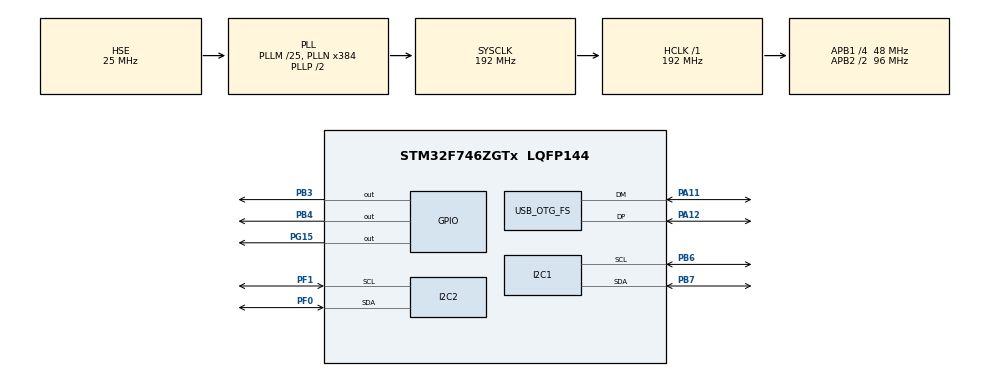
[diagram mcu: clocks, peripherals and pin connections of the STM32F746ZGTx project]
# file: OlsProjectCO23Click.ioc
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I2C1.Timing=0x20303E5D
I2C2.Timing=0x20303E5D
Mcu.Family=STM32F7
Mcu.Name=STM32F746ZGTx
Mcu.Package=LQFP144
NVIC.OTG_FS_IRQn=true\:0\:0\:false\:false\:true\:false\:true
NVIC.PriorityGroup=NVIC_PRIORITYGROUP_4
PA11.Mode=Device_Only
PA11.Signal=USB_OTG_FS_DM
PA12.Mode=Device_Only
PA12.Signal=USB_OTG_FS_DP
PB3.Signal=GPIO_Output
PB4.Signal=GPIO_Output
PB6.Mode=I2C
PB6.Signal=I2C1_SCL
PB7.Mode=I2C
PB7.Signal=I2C1_SDA
PF0.Mode=I2C
PF0.Signal=I2C2_SDA
PF1.Mode=I2C
PF1.Signal=I2C2_SCL
PG15.Signal=GPIO_Output
PH0/OSC_IN.Mode=HSE-External-Oscillator
PH0/OSC_IN.Signal=RCC_OSC_IN
PH1/OSC_OUT.Mode=HSE-External-Oscillator
PH1/OSC_OUT.Signal=RCC_OSC_OUT
ProjectManager.HeapSize=0x200
ProjectManager.StackSize=0x400
ProjectManager.TargetToolchain=STM32CubeIDE
RCC.AHBFreq_Value=192000000
RCC.APB1CLKDivider=RCC_HCLK_DIV4
RCC.APB1Freq_Value=48000000
RCC.APB1TimFreq_Value=96000000
RCC.APB2CLKDivider=RCC_HCLK_DIV2
RCC.APB2Freq_Value=96000000
RCC.APB2TimFreq_Value=192000000
RCC.CortexFreq_Value=192000000
RCC.HCLKFreq_Value=192000000
RCC.HSE_VALUE=25000000
RCC.HSI_VALUE=16000000
RCC.LSE_VALUE=32768
RCC.PLLM=25
RCC.PLLN=384
RCC.PLLQ=8
RCC.SYSCLKFreq_VALUE=192000000
RCC.SYSCLKSource=RCC_SYSCLKSOURCE_PLLCLK
RCC.USBFreq_Value=48000000
RCC.VCOOutputFreq_Value=384000000
USB_DEVICE.CLASS_NAME_FS=CDC
USB_DEVICE.VirtualMode-CDC_FS=Cdc
USB_DEVICE.VirtualModeFS=Cdc_FS
USB_OTG_FS.VirtualMode=Device_Only
VP_USB_DEVICE_VS_USB_DEVICE_CDC_FS.Mode=CDC_FS
board=custom

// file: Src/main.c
/* USER CODE BEGIN Header */
/**
  ******************************************************************************
  * @file           : main.c
  * @brief          : Main program body
  ******************************************************************************
  * @attention
  *
  * <h2><center>&copy; Copyright (c) 2024 STMicroelectronics.
  * All rights reserved.</center></h2>
  *
  * This software component is licensed by ST under Ultimate Liberty license
  * SLA0044, the "License"; You may not use this file except in compliance with
  * the License. You may obtain a copy of the License at:
  *                             www.st.com/SLA0044
  *
  ******************************************************************************
  */
/* USER CODE END Header */

#include "main.h"
#include "usb_device.h"

/* USER CODE BEGIN Includes */
#include "usbd_cdc_if.h"

#include "SSD1963.h"
#include "STMPE610.h"

#include "GUI.h"
#include "LCDConf.h"

#include "stdint.h"
#include "stdio.h"

#include "CO23Click.h"
#include <stdbool.h>
#include "Windows/Co2GraphDLG.h"
#include "Windows/WindowDLG.h"

/* USER CODE END Includes */

/* USER CODE BEGIN PTD */
typedef uint8_t bool_t;

typedef struct
{
  uint16_t Result;
  uint16_t Count;
} MeasurementMessage_t;

/* USER CODE END PTD */

/* USER CODE BEGIN PD */
#define MEAS_RES_INVALID  (0xFFFFu)
/* USER CODE END PD */

I2C_HandleTypeDef hi2c1;
I2C_HandleTypeDef hi2c2;

/* USER CODE BEGIN PV */
extern volatile GUI_TIMER_TIME OS_TimeMS;
uint16_t X_koordinata = 0;
uint16_t Y_koordinata = 0;
uint16_t keypressed = 0;
static bool_t NewMeasurementEvent = FALSE;
static MeasurementMessage_t MeasurementMsg =
{
  .Result = MEAS_RES_INVALID,
  .Count = 0u
};

GRAPH_Handle GraphHandle;
GRAPH_DATA_Handle GraphDataHandle;
GRAPH_SCALE_Handle GraphScaleHandle;
GRAPH_SCALE_Handle GraphScaleHandle2;

SLIDER_Handle RefPressureSliderHandle;
SLIDER_Handle MesRateSliderHandle;

TEXT_Handle RefPresTextBox;
TEXT_Handle MesRateTextBox;
TEXT_Handle ProdTextBox;
TEXT_Handle RevTextBox;
TEXT_Handle LastResultTextBox;
TEXT_Handle InfoTextBox;

#define MAX_GRAPH_DATA 1000
#define GRAPH_STEP_SIZE 25
int16_t GraphData[MAX_GRAPH_DATA] = { 0 };
uint16_t lastMeasuredPpm = 0u;
uint16_t MeasurementRateInS = 5;

void HAL_SYSTICK_Callback(void)
{
	OS_TimeMS++;
  C02Click_CyclicJob1ms();
}

/* USER CODE END PV */

void SystemClock_Config(void);
static void MX_GPIO_Init(void);
static void MX_I2C1_Init(void);
static void MX_I2C2_Init(void);
static void Co2MeasurementFinished(uint16_t Co2Ppm);
static void SetupGraph(void);
static void AddMesToGraph(uint16_t MeasuredPpm);
static void SetGraphScale(uint16_t MesRate);
static void SetupUtils(void);
WM_HWIN hWin;

/* USER CODE BEGIN 0 */
static void Co2MeasurementFinished(uint16_t Co2Ppm)
{
  NewMeasurementEvent = TRUE;
  MeasurementMsg.Result = Co2Ppm;
  AddMesToGraph(Co2Ppm);
  char msg[100] = { 0u };
  sprintf(msg, "Last result: %d [ppm]", Co2Ppm);
  TEXT_SetText(LastResultTextBox, msg);
}

static void PrintToDisplay(char* msg)
{
  GUI_Clear();
  GUI_DispString(msg);
}

void RefPressureSliderChanged(void)
{
    char msg[100];
    sprintf(msg, "Ref pressure: %d", SLIDER_GetValue(RefPressureSliderHandle));
    TEXT_SetText(RefPresTextBox, msg);
    sprintf(msg, "Set ref pressure?");
    TEXT_SetText(InfoTextBox, msg);
}

void MesRateCliderChanged(void)
{
	char msg[100];
    sprintf(msg, "Mes rate: %d", SLIDER_GetValue(MesRateSliderHandle));
    TEXT_SetText(MesRateTextBox, msg);
    sprintf(msg, "Set mes rate?");
    TEXT_SetText(InfoTextBox, msg);
}

void RefPressureSetButton(void)
{
    uint16_t refPressure = (uint16_t)SLIDER_GetValue(RefPressureSliderHandle);
    C02Click_SetRefPressure(refPressure);
    TEXT_SetText(InfoTextBox, "Ref pressure set!");
}

void MesRateSetButton(void)
{
    uint16_t MesRate = (uint16_t)SLIDER_GetValue(MesRateSliderHandle);
    MeasurementRateInS = MesRate;
    SetGraphScale(MesRate);
    C02Click_SetMeasurementRate(MesRate);
    TEXT_SetText(InfoTextBox, "Mes rate set!");
}

void StartMesButton(void)
{
  C02Click_TriggerContinuousMeasurement(MeasurementRateInS);
  TEXT_SetText(InfoTextBox, "Mes started!");
}

void StopMesButton(void)
{
  C02Click_StopMeasurement();
  TEXT_SetText(InfoTextBox, "Mes stopped!");
}

void ClearGraphButton(void)
{
    GRAPH_SCALE_SetOff(GraphScaleHandle, 0);
    GRAPH_DATA_YT_Clear(GraphDataHandle);
    TEXT_SetText(InfoTextBox, "Graph cleared!");
}

static void SetupUtils(void)
{
    RefPressureSliderHandle = WM_GetDialogItem(hWin, ID_SLIDER_0);
    MesRateSliderHandle = WM_GetDialogItem(hWin, ID_SLIDER_1);

    RefPresTextBox = WM_GetDialogItem(hWin, ID_TEXT_7);
    MesRateTextBox = WM_GetDialogItem(hWin, ID_TEXT_8);
    LastResultTextBox = WM_GetDialogItem(hWin, ID_TEXT_5);
    InfoTextBox = WM_GetDialogItem(hWin, ID_TEXT_6);

    SLIDER_SetRange(RefPressureSliderHandle, 750, 1150);
    SLIDER_SetRange(MesRateSliderHandle, 5, 4095);
    char msg[100];
    sprintf(msg, "Ref pressure: %d", SLIDER_GetValue(RefPressureSliderHandle));
    TEXT_SetText(RefPresTextBox, msg);

    sprintf(msg, "Mes rate: %d", SLIDER_GetValue(MesRateSliderHandle));
    TEXT_SetText(MesRateTextBox, msg);
}

static void SetGraphScale(uint16_t MesRate)
{
	float rate = 1.0/MesRate;
	GRAPH_SCALE_SetFactor(GraphScaleHandle, rate);
}
static int mescount = 0;
static void AddMesToGraph(uint16_t MeasuredPpm)
{
	int stepSize = (MeasuredPpm - lastMeasuredPpm)/ (GRAPH_STEP_SIZE - 1);
	for(int x = 0; x < GRAPH_STEP_SIZE; x++) //25pixels = 5s
	{
		  GRAPH_DATA_YT_AddValue(GraphDataHandle, ((int16_t)lastMeasuredPpm + x*(int16_t)stepSize)/10);
	}
	lastMeasuredPpm = MeasuredPpm;
	mescount++;
	if(mescount > 12)
	{
		static int scroll = 0;
		scroll -= 25;
		GRAPH_SCALE_SetOff(GraphScaleHandle, scroll);
	}
}

static void SetupGraph()
{
  GraphHandle = WM_GetDialogItem(hWin, ID_GRAPH_0);
  GRAPH_SetColor(GraphHandle, GUI_LIGHTGRAY, GRAPH_CI_BK);
  GRAPH_SetGridVis(GraphHandle, TRUE);
  GRAPH_SetAutoScrollbar(GraphHandle, GUI_COORD_X, TRUE);

  GraphScaleHandle = GRAPH_SCALE_Create(390, GUI_TA_HCENTER, GRAPH_SCALE_CF_HORIZONTAL, 50);
  GRAPH_SCALE_SetFactor(GraphScaleHandle, 0.2);
  GRAPH_AttachScale(GraphHandle, GraphScaleHandle);

  GraphScaleHandle2 = GRAPH_SCALE_Create(0, GUI_TA_VCENTER, GRAPH_SCALE_CF_VERTICAL, 50);
  GRAPH_SCALE_SetFactor(GraphScaleHandle2, 10);
  GRAPH_AttachScale(GraphHandle, GraphScaleHandle2);

  GraphDataHandle = GRAPH_DATA_YT_Create(GUI_RED, 300, GraphData, 0);
  GRAPH_DATA_YT_SetAlign(GraphDataHandle, GRAPH_ALIGN_LEFT);
  GRAPH_AttachData(GraphHandle, GraphDataHandle);

}
/* USER CODE END 0 */

int main(void)
{

  /* MCU Configuration--------------------------------------------------------*/

  /* Reset of all peripherals, Initializes the Flash interface and the Systick. */
  HAL_Init();

  /* Configure the system clock */
  SystemClock_Config();

  /* Initialize all configured peripherals */
  MX_GPIO_Init();
  MX_I2C1_Init();
  MX_I2C2_Init();
  MX_USB_DEVICE_Init();
  /* Initialize all configured peripherals */
  Init_LCD_GPIO();
  Init_TOUCH_GPIO(hi2c1);
  C02Click_Init(hi2c2, Co2MeasurementFinished);

  STMPE610_Init();

  //WM_SetCreateFlags(WM_CF_MEMDEV); // eliminise flickering
  GUI_Init();

  GUI_SetBkColor(GUI_BLUE);
  GUI_Clear();
//  GUI_SetBkColor(GUI_BLACK);
//  GUI_SetFont(&GUI_Font32_1);
//  GUI_DispString("HELLO DM");

  //hWin = CreateWindow();
  char msg[100u] = { 0u };
  GUI_Delay(100);

//  C02Click_TriggerContinuousMeasurement(5u); //trigger continuous measurement for 5s rate.

//  hWin=CreateCo2Graph();
  hWin = CreateWindow();
  SetupGraph();
  SetGraphScale(MeasurementRateInS);
  SetupUtils();
//  int16_t graphData[100] = { 0 };
//  GRAPH_DATA_Handle GraphDataHandle = GRAPH_DATA_YT_Create(GUI_LIGHTGRAY, 100, graphData, 100);
//  GRAPH_Handle GraphHandle = WM_GetDialogItem(hWin, ID_GRAPH_0);
//  GRAPH_AttachData(GraphHandle, GraphDataHandle);
//  for(int i = 0; i < 400; i++) GRAPH_DATA_YT_AddValue(GraphDataHandle, i);
  while (1)
  {

    /* USER CODE BEGIN 3 */
	  STMPE610_read_xyz();
	  GUI_TOUCH_Exec();
	  keypressed = GUI_GetKey();

		  GUI_Delay(1);

		  X_koordinata = STMPE610_GetX_TOUCH();
		  Y_koordinata = STMPE610_GetY_TOUCH();
		  if(X_koordinata > 0 && X_koordinata < 80 && Y_koordinata > 0 && Y_koordinata < 80){

			  HAL_GPIO_WritePin(GPIOB, GPIO_PIN_3|GPIO_PIN_4, GPIO_PIN_SET);
		  }

      if(FALSE != NewMeasurementEvent)
      {
          sprintf(msg, "Mes count: %d\nMes result: %d", MeasurementMsg.Count, MeasurementMsg.Result);
          PrintToDisplay(msg);
          NewMeasurementEvent = FALSE;
          if(MeasurementMsg.Count == 10)
          {
            C02Click_StopMeasurement();
            sprintf(msg, "Measurement stopped after %d measurements", MeasurementMsg.Count);
            PrintToDisplay(msg);
          }
      }
  }
  /* USER CODE END 3 */
}

void SystemClock_Config(void)
{
  RCC_OscInitTypeDef RCC_OscInitStruct = {0};
  RCC_ClkInitTypeDef RCC_ClkInitStruct = {0};
  RCC_PeriphCLKInitTypeDef PeriphClkInitStruct = {0};

  /** Configure the main internal regulator output voltage
  */
  __HAL_RCC_PWR_CLK_ENABLE();
  __HAL_PWR_VOLTAGESCALING_CONFIG(PWR_REGULATOR_VOLTAGE_SCALE1);
  /** Initializes the CPU, AHB and APB busses clocks
  */
  RCC_OscInitStruct.OscillatorType = RCC_OSCILLATORTYPE_HSE;
  RCC_OscInitStruct.HSEState = RCC_HSE_ON;
  RCC_OscInitStruct.PLL.PLLState = RCC_PLL_ON;
  RCC_OscInitStruct.PLL.PLLSource = RCC_PLLSOURCE_HSE;
  RCC_OscInitStruct.PLL.PLLM = 25;
  RCC_OscInitStruct.PLL.PLLN = 384;
  RCC_OscInitStruct.PLL.PLLP = RCC_PLLP_DIV2;
  RCC_OscInitStruct.PLL.PLLQ = 8;
  if (HAL_RCC_OscConfig(&RCC_OscInitStruct) != HAL_OK)
  {
    Error_Handler();
  }
  /** Activate the Over-Drive mode
  */
  if (HAL_PWREx_EnableOverDrive() != HAL_OK)
  {
    Error_Handler();
  }
  /** Initializes the CPU, AHB and APB busses clocks
  */
  RCC_ClkInitStruct.ClockType = RCC_CLOCKTYPE_HCLK|RCC_CLOCKTYPE_SYSCLK
                              |RCC_CLOCKTYPE_PCLK1|RCC_CLOCKTYPE_PCLK2;
  RCC_ClkInitStruct.SYSCLKSource = RCC_SYSCLKSOURCE_PLLCLK;
  RCC_ClkInitStruct.AHBCLKDivider = RCC_SYSCLK_DIV1;
  RCC_ClkInitStruct.APB1CLKDivider = RCC_HCLK_DIV4;
  RCC_ClkInitStruct.APB2CLKDivider = RCC_HCLK_DIV2;

  if (HAL_RCC_ClockConfig(&RCC_ClkInitStruct, FLASH_LATENCY_6) != HAL_OK)
  {
    Error_Handler();
  }
  PeriphClkInitStruct.PeriphClockSelection = RCC_PERIPHCLK_I2C1|RCC_PERIPHCLK_I2C2
                              |RCC_PERIPHCLK_CLK48;
  PeriphClkInitStruct.I2c1ClockSelection = RCC_I2C1CLKSOURCE_PCLK1;
  PeriphClkInitStruct.I2c2ClockSelection = RCC_I2C2CLKSOURCE_PCLK1;
  PeriphClkInitStruct.Clk48ClockSelection = RCC_CLK48SOURCE_PLL;
  if (HAL_RCCEx_PeriphCLKConfig(&PeriphClkInitStruct) != HAL_OK)
  {
    Error_Handler();
  }
}

static void MX_I2C1_Init(void)
{

  hi2c1.Instance = I2C1;
  hi2c1.Init.Timing = 0x20303E5D;
  hi2c1.Init.OwnAddress1 = 0;
  hi2c1.Init.AddressingMode = I2C_ADDRESSINGMODE_7BIT;
  hi2c1.Init.DualAddressMode = I2C_DUALADDRESS_DISABLE;
  hi2c1.Init.OwnAddress2 = 0;
  hi2c1.Init.OwnAddress2Masks = I2C_OA2_NOMASK;
  hi2c1.Init.GeneralCallMode = I2C_GENERALCALL_DISABLE;
  hi2c1.Init.NoStretchMode = I2C_NOSTRETCH_DISABLE;
  if (HAL_I2C_Init(&hi2c1) != HAL_OK)
  {
    Error_Handler();
  }
  /** Configure Analogue filter
  */
  if (HAL_I2CEx_ConfigAnalogFilter(&hi2c1, I2C_ANALOGFILTER_ENABLE) != HAL_OK)
  {
    Error_Handler();
  }
  /** Configure Digital filter
  */
  if (HAL_I2CEx_ConfigDigitalFilter(&hi2c1, 0) != HAL_OK)
  {
    Error_Handler();
  }

}

static void MX_I2C2_Init(void)
{

  hi2c2.Instance = I2C2;
  hi2c2.Init.Timing = 0x20303E5D;
  hi2c2.Init.OwnAddress1 = 0;
  hi2c2.Init.AddressingMode = I2C_ADDRESSINGMODE_7BIT;
  hi2c2.Init.DualAddressMode = I2C_DUALADDRESS_DISABLE;
  hi2c2.Init.OwnAddress2 = 0;
  hi2c2.Init.OwnAddress2Masks = I2C_OA2_NOMASK;
  hi2c2.Init.GeneralCallMode = I2C_GENERALCALL_DISABLE;
  hi2c2.Init.NoStretchMode = I2C_NOSTRETCH_DISABLE;
  if (HAL_I2C_Init(&hi2c2) != HAL_OK)
  {
    Error_Handler();
  }
  /** Configure Analogue filter
  */
  if (HAL_I2CEx_ConfigAnalogFilter(&hi2c2, I2C_ANALOGFILTER_ENABLE) != HAL_OK)
  {
    Error_Handler();
  }
  /** Configure Digital filter
  */
  if (HAL_I2CEx_ConfigDigitalFilter(&hi2c2, 0) != HAL_OK)
  {
    Error_Handler();
  }

}

static void MX_GPIO_Init(void)
{
  GPIO_InitTypeDef GPIO_InitStruct = {0};

  /* GPIO Ports Clock Enable */
  __HAL_RCC_GPIOF_CLK_ENABLE();
  __HAL_RCC_GPIOH_CLK_ENABLE();
  __HAL_RCC_GPIOA_CLK_ENABLE();
  __HAL_RCC_GPIOG_CLK_ENABLE();
  __HAL_RCC_GPIOB_CLK_ENABLE();

  /*Configure GPIO pin Output Level */
  HAL_GPIO_WritePin(GPIOG, GPIO_PIN_15, GPIO_PIN_RESET);

  /*Configure GPIO pin Output Level */
  HAL_GPIO_WritePin(GPIOB, GPIO_PIN_3|GPIO_PIN_4, GPIO_PIN_RESET);

  /*Configure GPIO pin : PG15 */
  GPIO_InitStruct.Pin = GPIO_PIN_15;
  GPIO_InitStruct.Mode = GPIO_MODE_OUTPUT_PP;
  GPIO_InitStruct.Pull = GPIO_NOPULL;
  GPIO_InitStruct.Speed = GPIO_SPEED_FREQ_LOW;
  HAL_GPIO_Init(GPIOG, &GPIO_InitStruct);

  /*Configure GPIO pins : PB3 PB4 */
  GPIO_InitStruct.Pin = GPIO_PIN_3|GPIO_PIN_4;
  GPIO_InitStruct.Mode = GPIO_MODE_OUTPUT_PP;
  GPIO_InitStruct.Pull = GPIO_NOPULL;
  GPIO_InitStruct.Speed = GPIO_SPEED_FREQ_LOW;
  HAL_GPIO_Init(GPIOB, &GPIO_InitStruct);

}

/* USER CODE BEGIN 4 */
void _cbDialog(WM_MESSAGE * pMsg) {
  int NCode;
  int Id;
  // USER START (Optionally insert additional variables)
  // USER END

  switch (pMsg->MsgId) {
  case WM_NOTIFY_PARENT:
    Id    = WM_GetId(pMsg->hWinSrc);
    NCode = pMsg->Data.v;
    switch(Id) {
    case ID_BUTTON_0: // Notifications sent by 'Get device data'
      switch(NCode) {
      case WM_NOTIFICATION_CLICKED:
        // USER START (Optionally insert code for reacting on notification message)
        // USER END
        break;
      case WM_NOTIFICATION_RELEASED:
        // USER START (Optionally insert code for reacting on notification message)
        // USER END
        break;
      // USER START (Optionally insert additional code for further notification handling)
      // USER END
      }
      break;
    case ID_SLIDER_0: // Notifications sent by 'Slider'
      switch(NCode) {
      case WM_NOTIFICATION_CLICKED:
        // USER START (Optionally insert code for reacting on notification message)
        // USER END
        break;
      case WM_NOTIFICATION_RELEASED:
        // USER START (Optionally insert code for reacting on notification message)
        // USER END
        break;
      case WM_NOTIFICATION_VALUE_CHANGED:
        // USER START (Optionally insert code for reacting on notification message)
        // USER END
        break;
      // USER START (Optionally insert additional code for further notification handling)
      // USER END
      }
      break;
    case ID_SLIDER_1: // Notifications sent by 'Slider'
      switch(NCode) {
      case WM_NOTIFICATION_CLICKED:
        // USER START (Optionally insert code for reacting on notification message)
        // USER END
        break;
      case WM_NOTIFICATION_RELEASED:
        // USER START (Optionally insert code for reacting on notification message)
        // USER END
        break;
      case WM_NOTIFICATION_VALUE_CHANGED:
        // USER START (Optionally insert code for reacting on notification message)
        // USER END
        break;
      // USER START (Optionally insert additional code for further notification handling)
      // USER END
      }
      break;
    case ID_BUTTON_1: // Notifications sent by 'Set'
      switch(NCode) {
      case WM_NOTIFICATION_CLICKED:
        // USER START (Optionally insert code for reacting on notification message)
        // USER END
        break;
      case WM_NOTIFICATION_RELEASED:
        // USER START (Optionally insert code for reacting on notification message)
        // USER END
        break;
      // USER START (Optionally insert additional code for further notification handling)
      // USER END
      }
      break;
    case ID_BUTTON_2: // Notifications sent by 'Set'
      switch(NCode) {
      case WM_NOTIFICATION_CLICKED:
        // USER START (Optionally insert code for reacting on notification message)
        // USER END
        break;
      case WM_NOTIFICATION_RELEASED:
        // USER START (Optionally insert code for reacting on notification message)
        // USER END
        break;
      // USER START (Optionally insert additional code for further notification handling)
      // USER END
      }
      break;
    case ID_BUTTON_3: // Notifications sent by 'Start'
      switch(NCode) {
      case WM_NOTIFICATION_CLICKED:
        // USER START (Optionally insert code for reacting on notification message)
        // USER END
        break;
      case WM_NOTIFICATION_RELEASED:
        // USER START (Optionally insert code for reacting on notification message)
        // USER END
        break;
      // USER START (Optionally insert additional code for further notification handling)
      // USER END
      }
      break;
    case ID_BUTTON_4: // Notifications sent by 'Stop'
      switch(NCode) {
      case WM_NOTIFICATION_CLICKED:
        // USER START (Optionally insert code for reacting on notification message)
        // USER END
        break;
      case WM_NOTIFICATION_RELEASED:
        // USER START (Optionally insert code for reacting on notification message)
        // USER END
        break;
      // USER START (Optionally insert additional code for further notification handling)
      // USER END
      }
      break;
    case ID_BUTTON_5: // Notifications sent by 'Clear'
      switch(NCode) {
      case WM_NOTIFICATION_CLICKED:
        // USER START (Optionally insert code for reacting on notification message)
        // USER END
        break;
      case WM_NOTIFICATION_RELEASED:
        // USER START (Optionally insert code for reacting on notification message)
        // USER END
        break;
      // USER START (Optionally insert additional code for further notification handling)
      // USER END
      }
      break;
    // USER START (Optionally insert additional code for further Ids)
    // USER END
    }
    break;
  // USER START (Optionally insert additional message handling)
  // USER END
  default:
    WM_DefaultProc(pMsg);
    break;
  }
}
/* USER CODE END 4 */

void Error_Handler(void)
{
}

/************************ (C) COPYRIGHT STMicroelectronics *****END OF FILE****/
